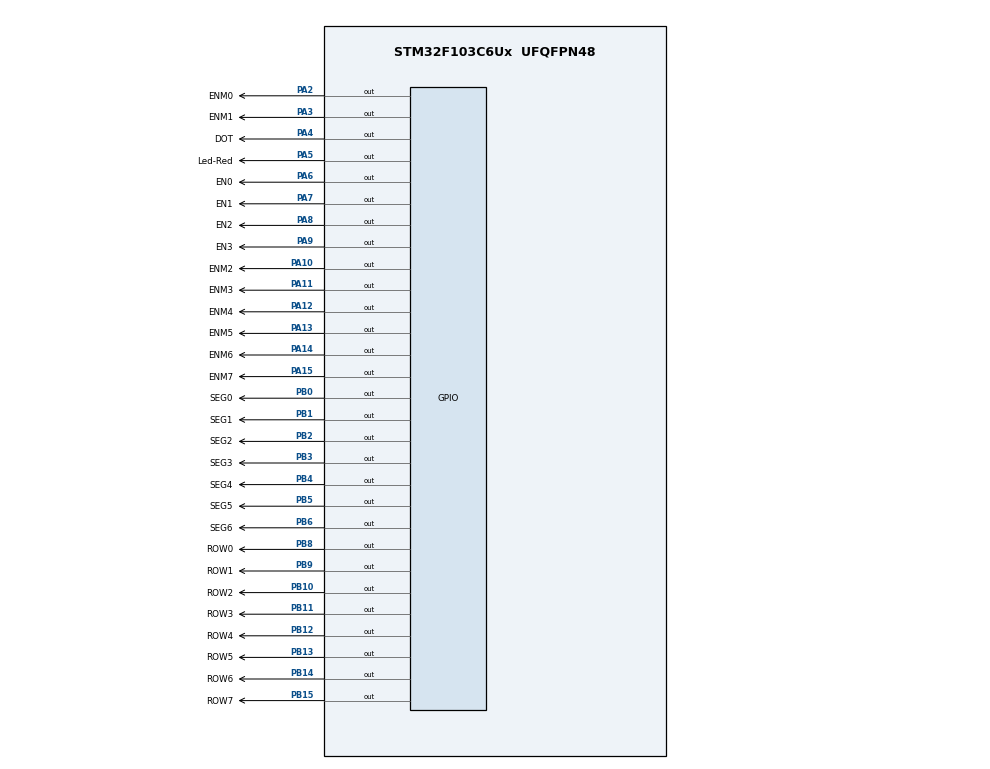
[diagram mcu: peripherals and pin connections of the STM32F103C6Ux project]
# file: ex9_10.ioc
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Mcu.Family=STM32F1
Mcu.Name=STM32F103C6Ux
Mcu.Package=UFQFPN48
NVIC.PriorityGroup=NVIC_PRIORITYGROUP_4
NVIC.TIM2_IRQn=true\:0\:0\:false\:false\:true\:true\:true
PA10.GPIO_Label=ENM2
PA10.Signal=GPIO_Output
PA11.GPIO_Label=ENM3
PA11.Signal=GPIO_Output
PA12.GPIO_Label=ENM4
PA12.Signal=GPIO_Output
PA13.GPIO_Label=ENM5
PA13.Signal=GPIO_Output
PA14.GPIO_Label=ENM6
PA14.Signal=GPIO_Output
PA15.GPIO_Label=ENM7
PA15.Signal=GPIO_Output
PA2.GPIO_Label=ENM0
PA2.Signal=GPIO_Output
PA3.GPIO_Label=ENM1
PA3.Signal=GPIO_Output
PA4.GPIO_Label=DOT
PA4.Signal=GPIO_Output
PA5.GPIO_Label=Led-Red
PA5.Signal=GPIO_Output
PA6.GPIO_Label=EN0
PA6.Signal=GPIO_Output
PA7.GPIO_Label=EN1
PA7.Signal=GPIO_Output
PA8.GPIO_Label=EN2
PA8.Signal=GPIO_Output
PA9.GPIO_Label=EN3
PA9.Signal=GPIO_Output
PB0.GPIO_Label=SEG0
PB0.Signal=GPIO_Output
PB1.GPIO_Label=SEG1
PB1.Signal=GPIO_Output
PB10.GPIO_Label=ROW2
PB10.Signal=GPIO_Output
PB11.GPIO_Label=ROW3
PB11.Signal=GPIO_Output
PB12.GPIO_Label=ROW4
PB12.Signal=GPIO_Output
PB13.GPIO_Label=ROW5
PB13.Signal=GPIO_Output
PB14.GPIO_Label=ROW6
PB14.Signal=GPIO_Output
PB15.GPIO_Label=ROW7
PB15.Signal=GPIO_Output
PB2.GPIO_Label=SEG2
PB2.Signal=GPIO_Output
PB3.GPIO_Label=SEG3
PB3.Signal=GPIO_Output
PB4.GPIO_Label=SEG4
PB4.Signal=GPIO_Output
PB5.GPIO_Label=SEG5
PB5.Signal=GPIO_Output
PB6.GPIO_Label=SEG6
PB6.Signal=GPIO_Output
PB8.GPIO_Label=ROW0
PB8.Signal=GPIO_Output
PB9.GPIO_Label=ROW1
PB9.Signal=GPIO_Output
ProjectManager.HeapSize=0x200
ProjectManager.StackSize=0x400
ProjectManager.TargetToolchain=STM32CubeIDE
RCC.APB1Freq_Value=8000000
RCC.APB2Freq_Value=8000000
TIM2.Period=9
TIM2.Prescaler=7999
VP_SYS_VS_ND.Mode=No_Debug
VP_TIM2_VS_ClockSourceINT.Mode=Internal
board=custom

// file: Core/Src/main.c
/* USER CODE BEGIN Header */
/**
  ******************************************************************************
  * @file           : main.c
  * @brief          : Main program body
  ******************************************************************************
  * @attention
  *
  * <h2><center>&copy; Copyright (c) 2026 STMicroelectronics.
  * All rights reserved.</center></h2>
  *
  * This software component is licensed by ST under BSD 3-Clause license,
  * the "License"; You may not use this file except in compliance with the
  * License. You may obtain a copy of the License at:
  *                        opensource.org/licenses/BSD-3-Clause
  *
  ******************************************************************************
  */
/* USER CODE END Header */
#include "main.h"

/* USER CODE BEGIN PD */
/* Columns are the LED anodes, fed from +3.3V through the R1 pack. When ENMc is
 * HIGH the ULN2803 shorts column c to GND and it goes dark, so a column is
 * selected by driving ENMc LOW. Rows are the cathodes: a pixel lights when its
 * ROW is LOW. Both confirmed with a one-pixel test in Proteus. */
#define MATRIX_ENM_ACTIVE   GPIO_PIN_RESET
#define MATRIX_ENM_IDLE     GPIO_PIN_SET

#define MATRIX_DATA_ON      GPIO_PIN_RESET
#define MATRIX_DATA_OFF     GPIO_PIN_SET
/* USER CODE END PD */

TIM_HandleTypeDef htim2;

void SystemClock_Config(void);
static void MX_GPIO_Init(void);
static void MX_TIM2_Init(void);

/* USER CODE BEGIN 0 */

/* Segment pattern table: segOn[digit][segment], 1 = segment lit */
const uint8_t segOn[10][7] = {
    {1,1,1,1,1,1,0}, // 0
    {0,1,1,0,0,0,0}, // 1
    {1,1,0,1,1,0,1}, // 2
    {1,1,1,1,0,0,1}, // 3
    {0,1,1,0,0,1,1}, // 4
    {1,0,1,1,0,1,1}, // 5
    {1,0,1,1,1,1,1}, // 6
    {1,1,1,0,0,0,0}, // 7
    {1,1,1,1,1,1,1}, // 8
    {1,1,1,1,0,1,1}  // 9
};

/* Signal pins  */
GPIO_TypeDef* segPorts[7] = { SEG0_GPIO_Port, SEG1_GPIO_Port, SEG2_GPIO_Port, SEG3_GPIO_Port,
                              SEG4_GPIO_Port, SEG5_GPIO_Port, SEG6_GPIO_Port };
uint16_t      segPins[7]  = { SEG0_Pin, SEG1_Pin, SEG2_Pin, SEG3_Pin,
                              SEG4_Pin, SEG5_Pin, SEG6_Pin };

/* Enable pins */
GPIO_TypeDef* enPorts[4] = { EN0_GPIO_Port, EN1_GPIO_Port, EN2_GPIO_Port, EN3_GPIO_Port };
uint16_t      enPins[4]  = { EN0_Pin, EN1_Pin, EN2_Pin, EN3_Pin };

int digit_buffer[4] = {1, 2, 3, 0};   /* displays "1 2 3 0" -> 12:30 */
int digit_index     = 0;              /* which seven-segment is currently lit */
int digit_tick      = 0;              /* counts 10ms ticks toward 500ms */

int dot_tick  = 0;                    /* counts 10ms ticks toward 1000ms */
int dot_state = 0;                    /* 0 = off, 1 = on */

void showDigitOnSeg(int num) {
    for (int i = 0; i < 7; i++) {
        HAL_GPIO_WritePin(segPorts[i], segPins[i],
                           segOn[num][i] ? GPIO_PIN_RESET : GPIO_PIN_SET);
    }
}

/* ========================= LED matrix (Ex9) ========================= */

/* Column-select pins, driven through the ULN2803 (ENM selects a COLUMN,
 * not a row -- confirmed against the schematic). */
GPIO_TypeDef* enmPorts[8] = { ENM0_GPIO_Port, ENM1_GPIO_Port, ENM2_GPIO_Port, ENM3_GPIO_Port,
                              ENM4_GPIO_Port, ENM5_GPIO_Port, ENM6_GPIO_Port, ENM7_GPIO_Port };
uint16_t      enmPins[8]  = { ENM0_Pin, ENM1_Pin, ENM2_Pin, ENM3_Pin,
                              ENM4_Pin, ENM5_Pin, ENM6_Pin, ENM7_Pin };

/* Row-data pins ROW0..ROW7 = PB8..PB15, they carry the 8 row bits of
 * whichever column is currently selected */
GPIO_TypeDef* rowPorts[8] = { ROW0_GPIO_Port, ROW1_GPIO_Port, ROW2_GPIO_Port, ROW3_GPIO_Port,
                              ROW4_GPIO_Port, ROW5_GPIO_Port, ROW6_GPIO_Port, ROW7_GPIO_Port };
uint16_t      rowPins[8]  = { ROW0_Pin, ROW1_Pin, ROW2_Pin, ROW3_Pin,
                              ROW4_Pin, ROW5_Pin, ROW6_Pin, ROW7_Pin };

/* matrix_buffer[c] = the 8 row bits shown while column c (ENMc) is enabled.
 * Bit 0 -> ROW0 (top row), bit 7 -> ROW7 (bottom row).
 *
 * Character 'A':
 *   . . # # # # . .
 *   . # . . . . # .
 *   . # . . . . # .
 *   . # . . . . # .
 *   . # # # # # # .
 *   . # . . . . # .
 *   . # . . . . # .
 *   . # . . . . # .
 */
uint8_t matrix_buffer[8] = { 0x00, 0xFE, 0x11, 0x11, 0x11, 0x11, 0xFE, 0x00 };

int matrix_index = 0;                 /* which column is currently selected */

/**
  * @brief  Put one column of matrix_buffer on the display.
  *         Only one column is enabled at a time; calling this repeatedly for
  *         index 0..7 fast enough makes the whole 8x8 picture appear.
  * @param  index column to show, 0..7
  */
void updateLEDMatrix(int index) {
    /* 1. switch the previously enabled column off, so the new data cannot
     *    briefly appear on the wrong column (ghosting) */
    HAL_GPIO_WritePin(enmPorts[matrix_index], enmPins[matrix_index], MATRIX_ENM_IDLE);

    /* 2. put the 8 row bits of this column on ROW0..ROW7 */
    for (int bit = 0; bit < 8; bit++) {
        HAL_GPIO_WritePin(rowPorts[bit], rowPins[bit],
                          ((matrix_buffer[index] >> bit) & 0x01) ? MATRIX_DATA_ON
                                                                 : MATRIX_DATA_OFF);
    }

    /* 3. enable this column */
    HAL_GPIO_WritePin(enmPorts[index], enmPins[index], MATRIX_ENM_ACTIVE);

    matrix_index = index;
}

/* ========================= LED matrix animation (Ex10) ========================= */
/* Slide the 'A' one column left every 500ms, wrapping around. The TIM2
 * interrupt only counts ticks and raises matrix_shift_ready; the shift itself
 * runs in main() between full scans, so it can never land halfway through a
 * frame and tear the image. */
#define MATRIX_SHIFT_TICKS  50    /* 50 x 10ms = 500ms per column shift */

int matrix_anim_tick = 0;             /* 10ms ticks since the last shift */
volatile int matrix_shift_ready = 0;  /* set by the ISR, cleared by main() */

/* Shift the picture one column left; column 0 wraps around to column 7. */
void shiftMatrixLeft(void) {
    uint8_t first = matrix_buffer[0];
    for (int c = 0; c < 7; c++) {
        matrix_buffer[c] = matrix_buffer[c + 1];
    }
    matrix_buffer[7] = first;
}

/* USER CODE END 0 */
int main(void)
{

  /* MCU Configuration--------------------------------------------------------*/

  /* Reset of all peripherals, Initializes the Flash interface and the Systick. */
  HAL_Init();

  /* Configure the system clock */
  SystemClock_Config();

  /* Initialize all configured peripherals */
  MX_GPIO_Init();
  MX_TIM2_Init();
  /* USER CODE BEGIN 2 */
  HAL_TIM_Base_Start_IT(&htim2);

  /* start with every seven-segment off, then light the first digit */
  for (int i = 0; i < 4; i++) {
      HAL_GPIO_WritePin(enPorts[i], enPins[i], GPIO_PIN_SET);
  }
  showDigitOnSeg(digit_buffer[0]);
  HAL_GPIO_WritePin(enPorts[0], enPins[0], GPIO_PIN_RESET);

  /* DOT starts off */
  HAL_GPIO_WritePin(DOT_GPIO_Port, DOT_Pin, GPIO_PIN_SET);

  /* start with every matrix column off */
  for (int i = 0; i < 8; i++) {
      HAL_GPIO_WritePin(enmPorts[i], enmPins[i], MATRIX_ENM_IDLE);
  }
  /* USER CODE END 2 */

  /* Infinite loop */
  /* USER CODE BEGIN WHILE */
  while (1)
  {
      /* The matrix is scanned here rather than in the interrupt, because the
       * interrupt only fires every 10ms: 8 columns x 10ms = 80ms per frame
       * (12.5 Hz) would flicker badly. Here each column is shown for 4ms, so a
       * whole frame takes 32ms (~31 Hz), just past the ~30 Hz threshold where
       * the eye blends the eight columns into one solid 'A'.
       * HAL_Delay does not disturb the seven-segment / DOT, because those are
       * handled by the TIM2 interrupt, which keeps firing during the delay. */
      for (int i = 0; i < 8; i++) {
          updateLEDMatrix(i);
          HAL_Delay(4);
      }

      /* Ex10: shift only between full scans, never mid-frame */
      if (matrix_shift_ready) {
          matrix_shift_ready = 0;
          shiftMatrixLeft();
      }

    /* USER CODE END WHILE */

  }
}

void SystemClock_Config(void)
{
  RCC_OscInitTypeDef RCC_OscInitStruct = {0};
  RCC_ClkInitTypeDef RCC_ClkInitStruct = {0};

  /** Initializes the RCC Oscillators according to the specified parameters
  * in the RCC_OscInitTypeDef structure.
  */
  RCC_OscInitStruct.OscillatorType = RCC_OSCILLATORTYPE_HSI;
  RCC_OscInitStruct.HSIState = RCC_HSI_ON;
  RCC_OscInitStruct.HSICalibrationValue = RCC_HSICALIBRATION_DEFAULT;
  RCC_OscInitStruct.PLL.PLLState = RCC_PLL_NONE;
  if (HAL_RCC_OscConfig(&RCC_OscInitStruct) != HAL_OK)
  {
    Error_Handler();
  }
  /** Initializes the CPU, AHB and APB buses clocks
  */
  RCC_ClkInitStruct.ClockType = RCC_CLOCKTYPE_HCLK|RCC_CLOCKTYPE_SYSCLK
                              |RCC_CLOCKTYPE_PCLK1|RCC_CLOCKTYPE_PCLK2;
  RCC_ClkInitStruct.SYSCLKSource = RCC_SYSCLKSOURCE_HSI;
  RCC_ClkInitStruct.AHBCLKDivider = RCC_SYSCLK_DIV1;
  RCC_ClkInitStruct.APB1CLKDivider = RCC_HCLK_DIV1;
  RCC_ClkInitStruct.APB2CLKDivider = RCC_HCLK_DIV1;

  if (HAL_RCC_ClockConfig(&RCC_ClkInitStruct, FLASH_LATENCY_0) != HAL_OK)
  {
    Error_Handler();
  }
}

static void MX_TIM2_Init(void)
{

  TIM_ClockConfigTypeDef sClockSourceConfig = {0};
  TIM_MasterConfigTypeDef sMasterConfig = {0};

  htim2.Instance = TIM2;
  htim2.Init.Prescaler = 7999;
  htim2.Init.CounterMode = TIM_COUNTERMODE_UP;
  htim2.Init.Period = 9;
  htim2.Init.ClockDivision = TIM_CLOCKDIVISION_DIV1;
  htim2.Init.AutoReloadPreload = TIM_AUTORELOAD_PRELOAD_DISABLE;
  if (HAL_TIM_Base_Init(&htim2) != HAL_OK)
  {
    Error_Handler();
  }
  sClockSourceConfig.ClockSource = TIM_CLOCKSOURCE_INTERNAL;
  if (HAL_TIM_ConfigClockSource(&htim2, &sClockSourceConfig) != HAL_OK)
  {
    Error_Handler();
  }
  sMasterConfig.MasterOutputTrigger = TIM_TRGO_RESET;
  sMasterConfig.MasterSlaveMode = TIM_MASTERSLAVEMODE_DISABLE;
  if (HAL_TIMEx_MasterConfigSynchronization(&htim2, &sMasterConfig) != HAL_OK)
  {
    Error_Handler();
  }

}

static void MX_GPIO_Init(void)
{
  GPIO_InitTypeDef GPIO_InitStruct = {0};

  /* GPIO Ports Clock Enable */
  __HAL_RCC_GPIOA_CLK_ENABLE();
  __HAL_RCC_GPIOB_CLK_ENABLE();

  /*Configure GPIO pin Output Level */
  HAL_GPIO_WritePin(GPIOA, DOT_Pin|Led_Red_Pin|EN0_Pin|EN1_Pin
                          |EN2_Pin|EN3_Pin|ENM0_Pin|ENM1_Pin
                          |ENM2_Pin|ENM3_Pin|ENM4_Pin|ENM5_Pin
                          |ENM6_Pin|ENM7_Pin, GPIO_PIN_RESET);

  /*Configure GPIO pin Output Level */
  HAL_GPIO_WritePin(GPIOB, SEG0_Pin|SEG1_Pin|SEG2_Pin|SEG3_Pin
                          |SEG4_Pin|SEG5_Pin|SEG6_Pin|ROW0_Pin
                          |ROW1_Pin|ROW2_Pin|ROW3_Pin|ROW4_Pin
                          |ROW5_Pin|ROW6_Pin|ROW7_Pin, GPIO_PIN_RESET);

  /*Configure GPIO pins : DOT_Pin Led_Red_Pin EN0_Pin EN1_Pin
                           EN2_Pin EN3_Pin ENM0_Pin ENM1_Pin
                           ENM2_Pin ENM3_Pin ENM4_Pin ENM5_Pin
                           ENM6_Pin ENM7_Pin */
  GPIO_InitStruct.Pin = DOT_Pin|Led_Red_Pin|EN0_Pin|EN1_Pin
                          |EN2_Pin|EN3_Pin|ENM0_Pin|ENM1_Pin
                          |ENM2_Pin|ENM3_Pin|ENM4_Pin|ENM5_Pin
                          |ENM6_Pin|ENM7_Pin;
  GPIO_InitStruct.Mode = GPIO_MODE_OUTPUT_PP;
  GPIO_InitStruct.Pull = GPIO_NOPULL;
  GPIO_InitStruct.Speed = GPIO_SPEED_FREQ_LOW;
  HAL_GPIO_Init(GPIOA, &GPIO_InitStruct);

  /*Configure GPIO pins : SEG0_Pin SEG1_Pin SEG2_Pin SEG3_Pin
                           SEG4_Pin SEG5_Pin SEG6_Pin ROW0_Pin
                           ROW1_Pin ROW2_Pin ROW3_Pin ROW4_Pin
                           ROW5_Pin ROW6_Pin ROW7_Pin */
  GPIO_InitStruct.Pin = SEG0_Pin|SEG1_Pin|SEG2_Pin|SEG3_Pin
                          |SEG4_Pin|SEG5_Pin|SEG6_Pin|ROW0_Pin
                          |ROW1_Pin|ROW2_Pin|ROW3_Pin|ROW4_Pin
                          |ROW5_Pin|ROW6_Pin|ROW7_Pin;
  GPIO_InitStruct.Mode = GPIO_MODE_OUTPUT_PP;
  GPIO_InitStruct.Pull = GPIO_NOPULL;
  GPIO_InitStruct.Speed = GPIO_SPEED_FREQ_LOW;
  HAL_GPIO_Init(GPIOB, &GPIO_InitStruct);

}

/* USER CODE BEGIN 4 */

/**
  * @brief  Period elapsed callback in non blocking mode, invoked every 10ms by TIM2.
  * @param  htim TIM handle
  * @retval None
  */
void HAL_TIM_PeriodElapsedCallback(TIM_HandleTypeDef *htim)
{
    /* ---- Scan the 4 seven-segment displays, 500ms (50 x 10ms) per digit ---- */
    digit_tick++;
    if (digit_tick >= 50) {
        digit_tick = 0;

        HAL_GPIO_WritePin(enPorts[digit_index], enPins[digit_index], GPIO_PIN_SET); /* turn off current digit */

        digit_index = (digit_index + 1) % 4;

        showDigitOnSeg(digit_buffer[digit_index]);
        HAL_GPIO_WritePin(enPorts[digit_index], enPins[digit_index], GPIO_PIN_RESET); /* turn on next digit */
    }

    /* ---- Blink the DOT LEDs every 1000ms (100 x 10ms) ---- */
    dot_tick++;
    if (dot_tick >= 100) {
        dot_tick = 0;
        dot_state = !dot_state;
        HAL_GPIO_WritePin(DOT_GPIO_Port, DOT_Pin, dot_state ? GPIO_PIN_RESET : GPIO_PIN_SET);
    }

    /* ---- Ex10: request a column shift every 500ms (50 x 10ms) ---- */
    matrix_anim_tick++;
    if (matrix_anim_tick >= MATRIX_SHIFT_TICKS) {
        matrix_anim_tick = 0;
        matrix_shift_ready = 1;
    }
}

/* USER CODE END 4 */

void Error_Handler(void)
{
  __disable_irq();
  while (1)
  {
  }
}

/************************ (C) COPYRIGHT STMicroelectronics *****END OF FILE****/
